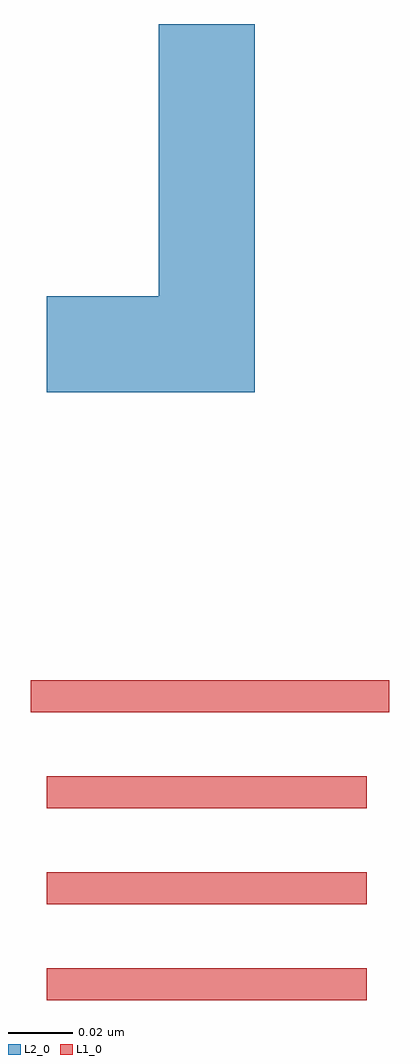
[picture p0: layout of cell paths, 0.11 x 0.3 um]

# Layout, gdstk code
import gdstk
lib = gdstk.Library(unit=1e-6, precision=1e-09)
L1_0 = (1, 0)
L2_0 = (2, 0)

paths = lib.new_cell('paths')
paths.add(gdstk.FlexPath([(0,0),(0.1,0)], 0.01, ends="flush", simple_path=True, layer=1, datatype=0))  # L1_0
paths.add(gdstk.FlexPath([(0,0.03),(0.1,0.03)], 0.01, ends="flush", simple_path=True, layer=1, datatype=0))  # L1_0
paths.add(gdstk.FlexPath([(0,0.06),(0.1,0.06)], 0.01, ends="flush", simple_path=True, layer=1, datatype=0))  # L1_0
paths.add(gdstk.FlexPath([(0,0.09),(0.1,0.09)], 0.01, ends=(0.005, 0.007), simple_path=True, layer=1, datatype=0))  # L1_0
paths.add(gdstk.FlexPath([(0,0.2),(0.05,0.2),(0.05,0.3)], 0.03, ends="flush", simple_path=True, layer=2, datatype=0))  # L2_0

lib.write_gds('paths.gds')
